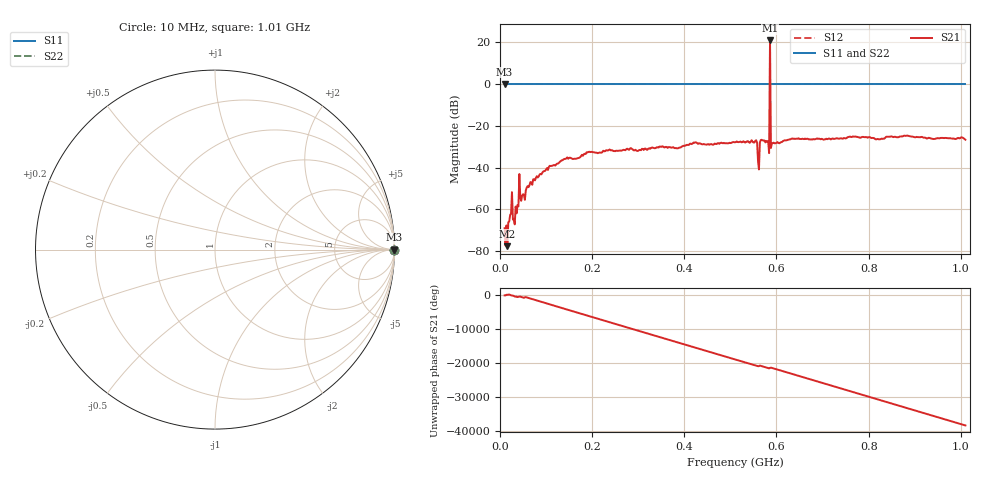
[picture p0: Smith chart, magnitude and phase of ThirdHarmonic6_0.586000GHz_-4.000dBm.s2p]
! 8/15/2025 6:58:13 PM
! C:\ANRITSUVNA\TEMP\TEMP.S2P
! CHANNEL.1
! TR.MEASUREMENT
! RAW.DATA
! RF.CORRECTION.OFF
! AVERAGING.OFF
! IF.BANDWIDTH: 5KHZ
! SWEEPTYPE:  FREQ.SWEEP(Linear)
! Reference Plane Port Info
! PORT:  PORT1  PORT2
! DISTANCE:  0  m  0  m
! TIME:  0  s  0  s
! PHASE.OFFSET:  0  deg.  0  deg.
! LOSS:  0  dB  0  dB
! REF.LOSS:  0  dB  0  dB
! REF.FREQ:  0  Hz  0  Hz
! Power Info
! POWER:  -20  dBm  -20  dBm
! EFF.POWER:  -20  dBm  -20  dBm
! SOURCE.ATTEN:  0  dB  0  dB
! TEST.ATTEN:  0  dB  0  dB
# GHZ S RI R 50.0
! FREQ.GHZ  S11RE  S11IM  S21RE  S21IM  S12RE  S12IM  S22RE  S22IM
!; PortSelection: Port_12
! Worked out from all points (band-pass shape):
!   501 points, 10 MHz to 1.01 GHz, reference 50 ohm
!   highest |S21| = 20.83 dB at 586 MHz (marker M1); lowest = -77.6 dB at 16 MHz (marker M2)
!   |S21| within 3 dB of the highest: 585.8886 MHz to 586.1167 MHz (228 kHz wide, 0.0389 % of centre)
!   lowest |S11| = 0.0 dB at 10 MHz (marker M3)
!   |S11| at or under -10 dB: nowhere
!   |S22| runs from 0.0 to 0.0 dB; largest |S21 - S12| = 12
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0.01  1 0  -6.13e-05 -0.00035  1 0  1 0
0.016  1 0  5.63e-05 0.00012  1 0  1 0
0.022  1 0  0.000508 0.000534  1 0  1 0
0.032  1 0  0.000181 -0.000402  1 0  1 0
0.046  1 0  -0.00145 0.000692  1 0  1 0
0.05  1 0  0.00228 -0.000393  1 0  1 0
0.062  1 0  -0.00294 -0.00174  1 0  1 0
0.11  1 0  0.00608 0.00903  1 0  1 0
0.178  1 0  -0.0201 -0.00279  1 0  1 0
0.344  1 0  0.0289 -0.00862  1 0  1 0
0.51  1 0  -0.0358 0.0184  1 0  1 0
0.554  1 0  -0.0434 -0.00591  1 0  1 0
0.56  1 0  0.0114 -0.00842  1 0  1 0
0.568  1 0  0.0439 -0.0147  1 0  1 0
0.58  1 0  -0.0333 -0.0252  1 0  1 0
0.582  1 0  -0.0301 0.0307  1 0  1 0
0.586  1 0  -10.81 -2.06  1 0  1 0
0.59  1 0  -0.0381 0.00586  1 0  1 0
0.592  1 0  -0.0027 0.0385  1 0  1 0
0.678  1 0  -0.026 -0.039  1 0  1 0
0.844  1 0  0.0447 0.0312  1 0  1 0
1.01  1 0  -0.0464 -0.00462  1 0  1 0
